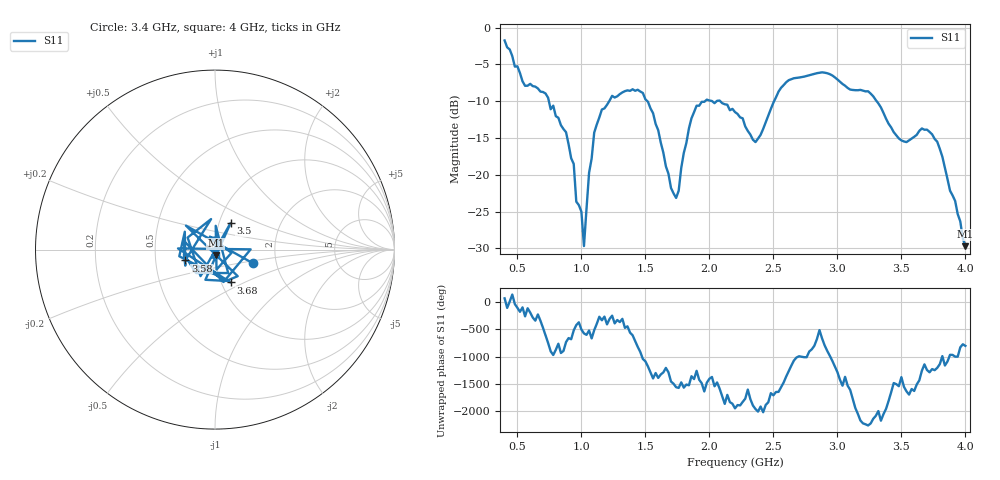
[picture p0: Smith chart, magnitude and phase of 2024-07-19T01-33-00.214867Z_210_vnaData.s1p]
!Created with skrf (http://scikit-rf.org).
# Hz S RI R 50.0
!freq ReS11 ImS11
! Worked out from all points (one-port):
!   181 points, 400 MHz to 4 GHz, reference 50 ohm
!   lowest |S11| = -29.7 dB at 4 GHz (marker M1), VSWR 1.07, Z = 50.3 - j3.27 ohm
!   |S11| at or under -10 dB: 745.8 MHz to 1.218 GHz (471.8 MHz wide, 48.1 % of centre); 1.515 GHz to 1.966 GHz (451.2 MHz wide, 25.9 % of centre); 3.307 GHz to end of sweep (the widest 3 of 5)
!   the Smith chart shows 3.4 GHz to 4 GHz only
!   S11 on the Smith chart (normalised r, x): 3.4 GHz: 1.51, -0.24; 3.5 GHz: 1.13, +0.34; 3.58 GHz: 0.71, -0.09; 3.68 GHz: 1.10, -0.42; 4 GHz: 1.01, -0.07
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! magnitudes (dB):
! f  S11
! 400 MHz  -1.8
! 560 MHz  -7.9
! 720 MHz  -9.0
! 860 MHz  -13.8
! 940 MHz  -18.5
! 960 MHz  -23.7
! 1 GHz  -25.0
! 1.02 GHz  -29.7
! 1.06 GHz  -19.7
! 1.1 GHz  -14.3
! 1.3 GHz  -9.0
! 1.48 GHz  -8.9
! 1.6 GHz  -13.9
! 1.7 GHz  -21.8
! 1.76 GHz  -22.2
! 1.9 GHz  -10.6
! 2.2 GHz  -11.5
! 2.36 GHz  -15.6
! 2.66 GHz  -6.9
! 3.1 GHz  -8.4
! 3.24 GHz  -8.7
! 3.4 GHz  -13.1
! 3.5 GHz  -15.3
! 3.56 GHz  -15.3
! 3.58 GHz  -15.1
! 3.68 GHz  -13.9
! 3.8 GHz  -16.5
! 4 GHz  -29.7
